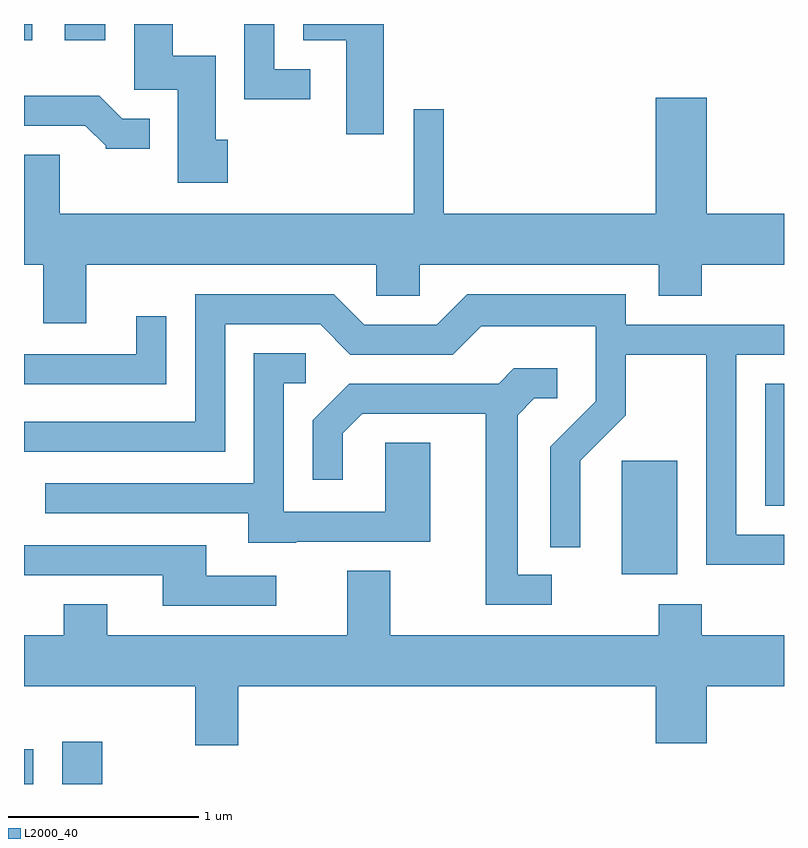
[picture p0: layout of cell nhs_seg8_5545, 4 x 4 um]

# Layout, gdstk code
import gdstk
lib = gdstk.Library(unit=1e-6, precision=1e-09)
def R(c, l, rs):  # rectangles x0, y0, x1, y1
    for r in rs: c.add(gdstk.rectangle(r[:2], r[2:], *l))
def P(c, l, *ps):  # polygons
    for p in ps: c.add(gdstk.Polygon(p, *l))
L2000_40 = (2000, 40)

nhs_seg8_5545 = lib.new_cell('nhs_seg8_5545')
R(nhs_seg8_5545, L2000_40, [(351.611,1840.342,351.659,1840.524), (351.811,1840.342,352.024,1840.564), (354.756,1841.446,355.049,1842.044), (355.511,1841.806,355.611,1842.449), (351.611,1844.256,351.654,1844.342), (351.826,1844.256,352.039,1844.342)])
P(nhs_seg8_5545, L2000_40, [(353.504,1844.342),(353.081,1844.342),(353.081,1844.256),(353.306,1844.256),(353.306,1843.761),(353.504,1843.761)],
  [(353.118,1844.104),(352.929,1844.104),(352.929,1844.342),(352.771,1844.342),(352.771,1843.946),(353.118,1843.946)],
  [(352.684,1843.734),(352.619,1843.734),(352.619,1844.174),(352.394,1844.174),(352.394,1844.342),(352.191,1844.342),(352.191,1843.996),(352.421,1843.996),(352.421,1843.506),(352.684,1843.506)],
  [(352.273,1843.844),(352.127,1843.844),(352.007,1843.964),(351.611,1843.964),(351.611,1843.806),(351.934,1843.806),(352.04,1843.7),(352.04,1843.686),(352.273,1843.686)],
  [(351.939,1843.076),(353.466,1843.076),(353.466,1842.911),(353.694,1842.911),(353.694,1843.076),(354.951,1843.076),(354.951,1842.911),(355.179,1842.911),(355.179,1843.076),(355.611,1843.076),(355.611,1843.344),(355.204,1843.344),(355.204,1843.954),(354.936,1843.954),(354.936,1843.344),(353.819,1843.344),(353.819,1843.893),(353.661,1843.893),(353.661,1843.344),(351.799,1843.344),(351.799,1843.654),(351.611,1843.654),(351.611,1843.076),(351.711,1843.076),(351.711,1842.766),(351.939,1842.766)],
  [(355.611,1841.654),(355.359,1841.654),(355.359,1842.601),(355.611,1842.601),(355.611,1842.759),(354.779,1842.759),(354.779,1842.919),(353.944,1842.919),(353.784,1842.759),(353.402,1842.759),(353.242,1842.919),(352.511,1842.919),(352.511,1842.249),(351.611,1842.249),(351.611,1842.091),(352.669,1842.091),(352.669,1842.761),(353.169,1842.761),(353.329,1842.601),(353.867,1842.601),(354.017,1842.751),(354.621,1842.751),(354.621,1842.357),(354.381,1842.117),(354.381,1841.588),(354.539,1841.588),(354.539,1842.044),(354.779,1842.284),(354.779,1842.601),(355.201,1842.601),(355.201,1841.496),(355.611,1841.496)],
  [(352.359,1842.803),(352.201,1842.803),(352.201,1842.604),(351.611,1842.604),(351.611,1842.446),(352.359,1842.446)],
  [(353.045,1841.616),(353.749,1841.616),(353.749,1842.139),(353.511,1842.139),(353.511,1841.774),(352.979,1841.774),(352.979,1842.451),(353.093,1842.451),(353.093,1842.609),(352.821,1842.609),(352.821,1841.924),(351.723,1841.924),(351.723,1841.766),(352.791,1841.766),(352.791,1841.611),(353.045,1841.611)],
  [(354.388,1841.444),(354.209,1841.444),(354.209,1842.284),(354.297,1842.371),(354.418,1842.371),(354.418,1842.529),(354.189,1842.529),(354.109,1842.449),(353.324,1842.449),(353.131,1842.257),(353.131,1841.943),(353.289,1841.943),(353.289,1842.189),(353.392,1842.291),(354.041,1842.291),(354.041,1841.286),(354.388,1841.286)],
  [(352.938,1841.439),(352.569,1841.439),(352.569,1841.599),(351.611,1841.599),(351.611,1841.441),(352.341,1841.441),(352.341,1841.281),(352.938,1841.281)],
  [(352.739,1840.856),(354.936,1840.856),(354.936,1840.556),(355.204,1840.556),(355.204,1840.856),(355.611,1840.856),(355.611,1841.124),(355.179,1841.124),(355.179,1841.289),(354.951,1841.289),(354.951,1841.124),(353.539,1841.124),(353.539,1841.464),(353.311,1841.464),(353.311,1841.124),(352.049,1841.124),(352.049,1841.289),(351.821,1841.289),(351.821,1841.124),(351.611,1841.124),(351.611,1840.856),(352.511,1840.856),(352.511,1840.546),(352.739,1840.546)])

lib.write_gds('nhs_seg8_5545.gds')
